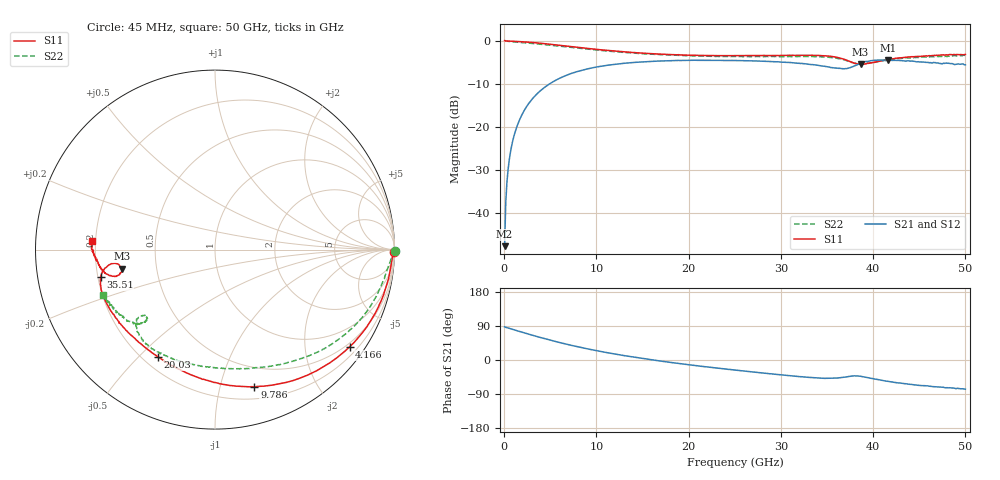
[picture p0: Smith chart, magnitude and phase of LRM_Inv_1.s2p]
!LRM Calibration
!DATE: 03-May-2007
!Vgs[V]=  -7.000
!Vds[V]=  0.000
!Igs[mA]=  0.000
!Ids[mA]=  0.000
# GHZ S RI  R  50
!  Freq  Res11  Ims11  Res21  Ims21  Res12  Ims12  Res22  Ims22
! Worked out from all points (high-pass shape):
!   401 points, 45 MHz to 50 GHz, reference 50 ohm
!   highest |S21| = -4.49 dB at 41.63 GHz (marker M1); lowest = -47.7 dB at 45 MHz (marker M2)
!   |S21| within 3 dB of the highest: 7.464 GHz to end of sweep
!   lowest |S11| = -5.5 dB at 38.64 GHz (marker M3), VSWR 3.26, Z = 15.5 - j4.58 ohm
!   |S11| at or under -10 dB: nowhere
!   |S22| runs from -5.5 to 0.0 dB; largest |S21 - S12| = 0.017
!   S11 on the Smith chart (normalised r, x): 45 MHz: open; 4.166 GHz: 0.41, -3.04; 9.786 GHz: 0.30, -1.28; 20.03 GHz: 0.26, -0.57; 35.51 GHz: 0.21, -0.11; 50 GHz: 0.18, +0.03
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0.045  0.9982 -0.0131  0.000177 0.00413  -0.00027 0.00389  1.003 -0.00906
0.4196625  0.9832 -0.0702  0.003 0.0317  0.00316 0.0314  0.9787 -0.0599
0.54455  0.9807 -0.0886  0.00454 0.0408  0.00462 0.0406  0.9734 -0.0744
0.794325  0.974 -0.1255  0.00849 0.0586  0.0085 0.0585  0.9643 -0.1001
1.168988  0.9611 -0.1816  0.0164 0.0845  0.0167 0.0841  0.9515 -0.1367
1.668538  0.9388 -0.2528  0.0306 0.1167  0.0308 0.1162  0.9334 -0.1831
2.417863  0.8938 -0.3526  0.0588 0.1606  0.059 0.1598  0.9045 -0.247
4.166288  0.7499 -0.5414  0.1468 0.2326  0.1471 0.2317  0.8183 -0.3804
6.289375  0.543 -0.6861  0.2694 0.2641  0.2694 0.2626  0.6958 -0.4948
8.412463  0.3396 -0.7511  0.3811 0.2428  0.3808 0.2411  0.5746 -0.5696
9.786225  0.22 -0.7675  0.4406 0.2121  0.4414 0.2089  0.4985 -0.6005
13.28308  -0.0208 -0.7351  0.5393 0.1  0.5386 0.0985  0.3299 -0.6466
16.77992  -0.1951 -0.6687  0.5777 -0.0222  0.5769 -0.0237  0.1881 -0.6622
20.027  -0.3162 -0.5976  0.5751 -0.128  0.5737 -0.13  0.0696 -0.664
25.0225  -0.458 -0.4842  0.5251 -0.2626  0.5234 -0.2636  -0.0966 -0.6452
33.38996  -0.6266 -0.2499  0.363 -0.3821  0.3598 -0.3833  -0.3638 -0.543
35.51305  -0.6372 -0.1513  0.3236 -0.363  0.3225 -0.3646  -0.4228 -0.4716
37.38636  -0.5718 -0.0776  0.3493 -0.3305  0.3472 -0.3315  -0.4251 -0.3777
38.63524  -0.5194 -0.1062  0.3988 -0.3714  0.3945 -0.3731  -0.3861 -0.3669
41.63254  -0.5837 -0.1454  0.3295 -0.4972  0.3244 -0.4983  -0.4234 -0.4139
41.75742  -0.5887 -0.1447  0.3212 -0.4964  0.3177 -0.5  -0.4364 -0.4102
50  -0.6879 0.0477  0.1171 -0.5101  0.1105 -0.5164  -0.6221 -0.2546
